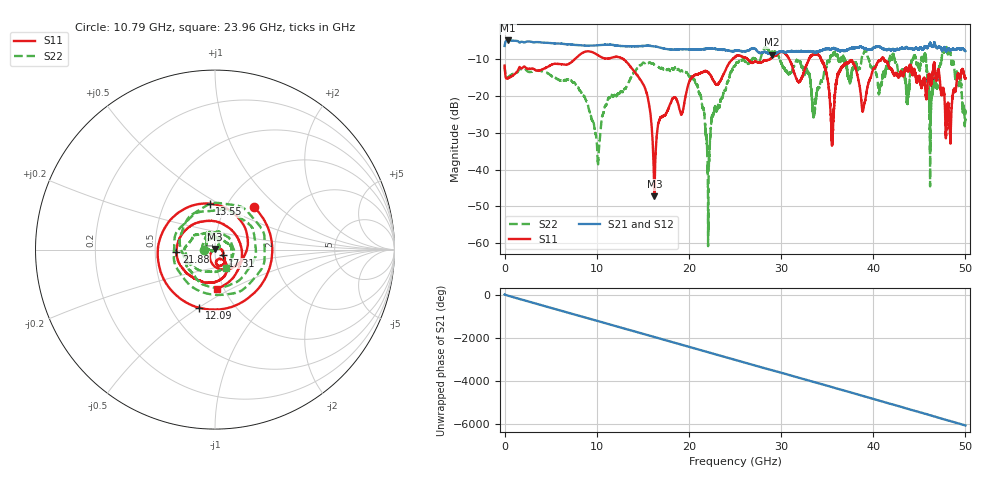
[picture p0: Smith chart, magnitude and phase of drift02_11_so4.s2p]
!Created with skrf (http://scikit-rf.org).
# Hz S RI R 50.0
!freq ReS11 ImS11 ReS21 ImS21 ReS12 ImS12 ReS22 ImS22
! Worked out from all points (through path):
!   10001 points, 300 kHz to 50 GHz, reference 50 ohm
!   highest |S21| = -5.04 dB at 375.3 MHz (marker M1); lowest = -8.9 dB at 28.99 GHz (marker M2)
!   group delay of S21, straight-line fit = 336 ps
!   lowest |S11| = -47.3 dB at 16.25 GHz (marker M3), VSWR 1.01, Z = 49.8 + j0.401 ohm
!   |S11| at or under -10 dB: start of sweep to 7.665 GHz; 12.83 GHz to 24.77 GHz (11.94 GHz wide, 63.5 % of centre); 41.13 GHz to end of sweep (the widest 3 of 14)
!   |S22| runs from -60.8 to -6.8 dB; largest |S21 - S12| = 0.028
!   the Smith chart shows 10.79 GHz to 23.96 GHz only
!   S11 on the Smith chart (normalised r, x): 10.79 GHz: 1.34, +0.71; 12.09 GHz: 0.69, -0.50; 13.55 GHz: 0.83, +0.45; 17.31 GHz: 1.09, -0.07; 21.88 GHz: 0.65, -0.01; 23.96 GHz: 0.93, -0.43
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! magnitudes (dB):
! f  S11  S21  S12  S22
! 300 kHz  -11.9  -6.5  -6.5  -11.7
! 375.3 MHz  -15.2  -5.0  -5.0  -15.0
! 8.335 GHz  -8.6  -6.4  -6.4  -19.1
! 10.11 GHz  -9.0  -6.4  -6.3  -37.8
! 10.79 GHz  -9.9  -6.2  -6.2  -23.9
! 12.09 GHz  -9.5  -6.4  -6.4  -20.2
! 13.55 GHz  -11.8  -6.6  -6.6  -15.9
! 16.25 GHz  -47.3  -6.6  -6.6  -11.6
! 16.67 GHz  -27.6  -6.8  -6.8  -12.2
! 17.31 GHz  -25.4  -7.2  -7.2  -12.8
! 20.74 GHz  -14.3  -7.5  -7.5  -16.9
! 21.88 GHz  -13.4  -7.3  -7.3  -31.5
! 23.96 GHz  -13.1  -7.6  -7.6  -18.5
! 25 GHz  -9.5  -7.8  -7.9  -11.8
! 28.99 GHz  -9.7  -8.9  -8.9  -8.1
! 33.34 GHz  -9.1  -8.0  -8.0  -20.3
! 35.54 GHz  -33.3  -7.3  -7.4  -9.2
! 36.78 GHz  -12.0  -7.8  -7.9  -9.9
! 41.67 GHz  -12.0  -7.4  -7.5  -11.8
! 46.25 GHz  -17.3  -6.1  -6.1  -22.2
! 48.12 GHz  -22.1  -7.2  -7.2  -8.7
! 50 GHz  -15.4  -7.9  -7.9  -24.9
